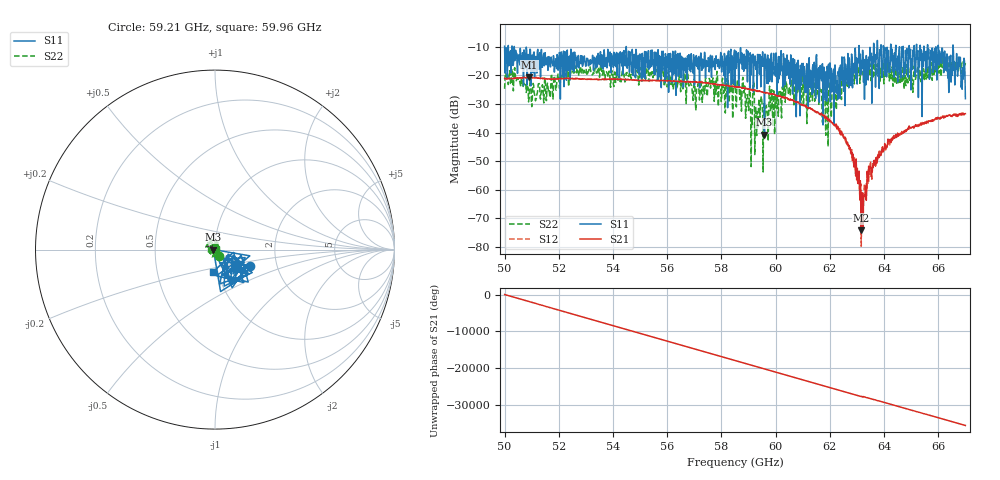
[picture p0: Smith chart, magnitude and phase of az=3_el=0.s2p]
!Created with skrf (http://scikit-rf.org).
# GHz S RI R 50.0
!freq ReS11 ImS11 ReS21 ImS21 ReS12 ImS12 ReS22 ImS22
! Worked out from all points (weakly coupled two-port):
!   1001 points, 50 GHz to 67 GHz, reference 50 ohm
!   highest |S21| = -20.60 dB at 50.92 GHz (marker M1); lowest = -74.2 dB at 63.16 GHz (marker M2)
!   lowest |S11| = -40.7 dB at 59.59 GHz (marker M3), VSWR 1.02, Z = 49.1 + j0.0122 ohm
!   |S11| at or under -10 dB: 50.36 GHz to 54.49 GHz (4.13 GHz wide, 7.88 % of centre); 54.49 GHz to 63.07 GHz (8.583 GHz wide, 14.6 % of centre); 63.08 GHz to 63.61 GHz (538.1 MHz wide, 0.849 % of centre) (the widest 3 of 23)
!   |S22| runs from -53.7 to -14.1 dB; largest |S21 - S12| = 0.0022
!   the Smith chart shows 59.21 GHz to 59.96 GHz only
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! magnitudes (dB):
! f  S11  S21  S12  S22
! 50 GHz  -9.8  -21.1  -21.1  -24.7
! 50.44 GHz  -12.2  -20.9  -20.9  -21.4
! 50.92 GHz  -18.0  -20.6  -20.6  -24.3
! 52.84 GHz  -14.4  -21.3  -21.2  -19.1
! 55.68 GHz  -13.4  -21.8  -21.8  -21.8
! 57 GHz  -23.5  -22.2  -22.1  -21.5
! 57.62 GHz  -16.0  -22.9  -22.9  -22.1
! 58.5 GHz  -23.7  -23.9  -23.9  -24.4
! 59.59 GHz  -40.7  -26.0  -25.9  -29.8
! 60.32 GHz  -20.3  -27.8  -27.8  -23.2
! 61.34 GHz  -26.7  -31.7  -31.8  -25.8
! 61.88 GHz  -29.0  -35.1  -35.3  -23.5
! 62.51 GHz  -25.5  -41.6  -41.8  -20.5
! 62.99 GHz  -13.9  -56.4  -54.1  -20.4
! 63.16 GHz  -15.7  -74.2  -79.7  -17.3
! 63.24 GHz  -22.4  -63.1  -60.7  -20.5
! 63.46 GHz  -16.2  -51.7  -54.7  -17.2
! 64.18 GHz  -18.9  -42.9  -43.0  -18.4
! 66.08 GHz  -15.2  -34.7  -34.7  -15.6
! 66.42 GHz  -15.1  -33.8  -34.0  -16.2
! 66.75 GHz  -17.4  -33.6  -33.9  -18.3
! 67 GHz  -28.1  -33.4  -33.6  -15.7
